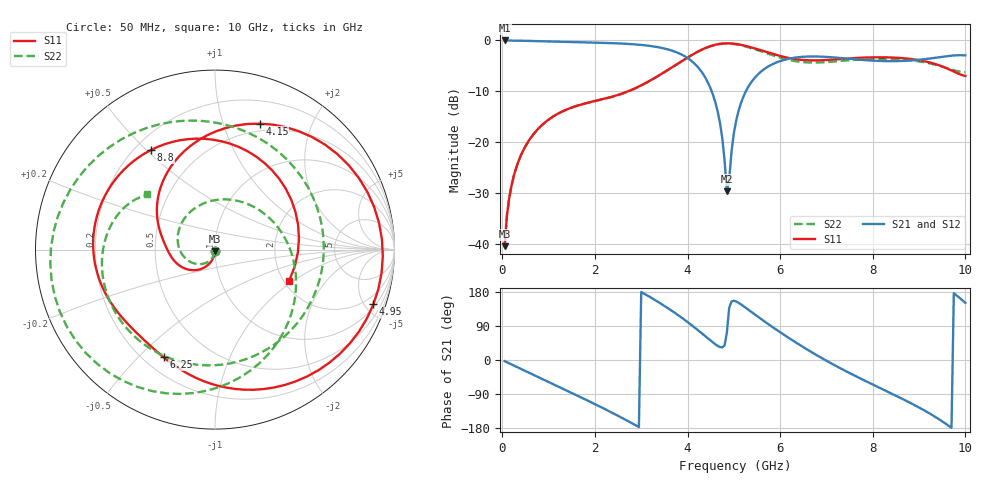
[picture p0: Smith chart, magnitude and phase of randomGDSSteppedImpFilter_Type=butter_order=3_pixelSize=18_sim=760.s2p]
! freq	dB(S11)	phase(S11)	dB(S12)	phase(S12)
!  dB(S21)	phase(S21)	dB(S22)	phase(S22)
!S-par simulation data
#  GHz  S  DB  R 50
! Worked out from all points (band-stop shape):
!   200 points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, 50 MHz to 10 GHz, reference 50 ohm
!   highest |S21| = 0.00 dB at 50 MHz (marker M1); lowest = -29.6 dB at 4.85 GHz (marker M2)
!   |S21| within 3 dB of the highest: start of sweep to 3.919 GHz; 9.683 GHz to end of sweep
!   lowest |S11| = -40.4 dB at 50 MHz (marker M3), VSWR 1.02, Z = 50 - j0.956 ohm
!   |S11| at or under -10 dB: start of sweep to 2.71 GHz
!   |S22| runs from -40.4 to -0.6 dB; largest |S21 - S12| = 0
!   S11 on the Smith chart (normalised r, x): 50 MHz: 1.00, -0.02; 4.15 GHz: 0.42, +1.33; 4.95 GHz: 1.21, -5.72; 6.25 GHz: 0.28, -0.60; 8.8 GHz: 0.26, +0.52; 10 GHz: 2.13, -0.93
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0.05  -40.38 -91.9  -0.00 -2.9  -0.00 -2.9  -40.38 -92.9
0.2  -28.44 -99.4  -0.03 -11.7  -0.03 -11.7  -28.46 -103.8
0.5  -20.76 -114.0  -0.08 -29.1  -0.08 -29.1  -20.78 -125.2
1.15  -14.64 -143.0  -0.24 -66.7  -0.24 -66.7  -14.66 -171.8
1.75  -12.46 -166.1  -0.38 -101.6  -0.38 -101.6  -12.48 141.4
2.7  -10.04 163.6  -0.67 -160.3  -0.67 -160.3  -10.09 54.1
3.4  -6.77 131.5  -1.39 150.5  -1.39 150.5  -6.81 -12.7
3.8  -4.49 102.8  -2.47 118.2  -2.47 118.2  -4.52 -49.4
4.15  -2.56 70.5  -4.54 86.0  -4.54 86.0  -2.58 -82.9
4.65  -0.74 14.9  -13.90 37.4  -13.90 37.4  -0.78 -135.9
4.75  -0.61 3.4  -19.15 33.2  -19.15 33.2  -0.66 -147.1
4.85  -0.56 -8.0  -29.65 72.8  -29.65 72.8  -0.62 -158.3
4.95  -0.60 -19.0  -21.78 154.4  -21.78 154.4  -0.67 -169.5
5.05  -0.70 -29.6  -15.75 154.3  -15.75 154.3  -0.78 179.4
5.65  -2.11 -81.9  -5.67 102.8  -5.67 102.8  -2.34 113.9
6.25  -3.55 -115.5  -3.47 53.2  -3.47 53.2  -3.94 45.7
6.7  -3.92 -133.8  -3.14 19.1  -3.14 19.1  -4.35 -5.8
7.5  -3.52 -166.7  -3.61 -34.5  -3.61 -34.5  -3.88 -82.4
8.35  -3.33 150.6  -4.07 -85.3  -4.07 -85.3  -3.63 -142.5
8.8  -3.61 122.6  -3.95 -112.5  -3.95 -112.5  -3.88 -169.4
9.45  -4.94 66.0  -3.27 -157.8  -3.27 -157.8  -5.00 156.5
10  -6.97 -22.8  -2.94 150.9  -2.94 150.9  -6.22 140.9
